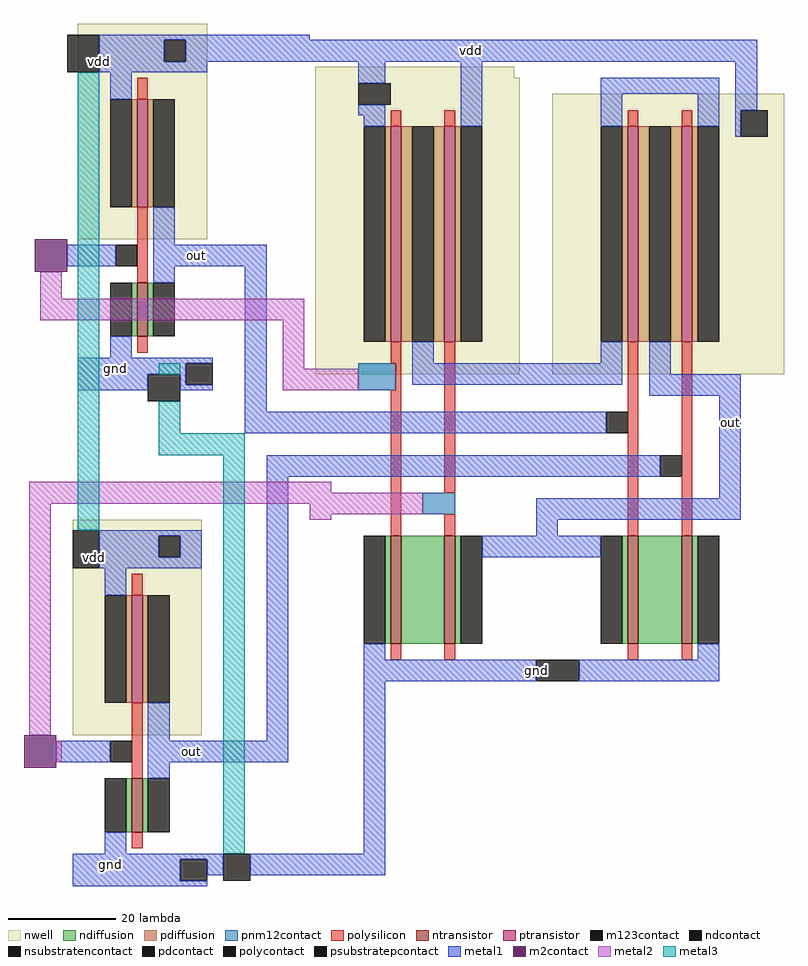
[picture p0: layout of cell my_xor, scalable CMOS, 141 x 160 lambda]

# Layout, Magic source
magic
tech scmos
<< nwell >>
rect 485 140 509 180
rect 529 170 566 172
rect 529 115 567 170
rect 573 115 616 167
rect 484 48 508 88
<< ntransistor >>
rect 496 122 498 132
rect 543 65 545 85
rect 553 65 555 85
rect 587 65 589 85
rect 597 65 599 85
rect 495 30 497 40
<< ptransistor >>
rect 496 146 498 166
rect 543 121 545 161
rect 553 121 555 161
rect 587 121 589 161
rect 597 121 599 161
rect 495 54 497 74
<< ndiffusion >>
rect 495 122 496 132
rect 498 122 499 132
rect 542 65 543 85
rect 545 65 553 85
rect 555 65 556 85
rect 586 65 587 85
rect 589 65 597 85
rect 599 65 600 85
rect 494 30 495 40
rect 497 30 498 40
<< pdiffusion >>
rect 495 146 496 166
rect 498 146 499 166
rect 542 121 543 161
rect 545 121 547 161
rect 551 121 553 161
rect 555 121 556 161
rect 586 121 587 161
rect 589 121 591 161
rect 595 121 597 161
rect 599 121 600 161
rect 494 54 495 74
rect 497 54 498 74
<< ndcontact >>
rect 491 122 495 132
rect 499 122 503 132
rect 538 65 542 85
rect 556 65 560 85
rect 582 65 586 85
rect 600 65 604 85
rect 490 30 494 40
rect 498 30 502 40
<< pdcontact >>
rect 491 146 495 166
rect 499 146 503 166
rect 538 121 542 161
rect 547 121 551 161
rect 556 121 560 161
rect 582 121 586 161
rect 591 121 595 161
rect 600 121 604 161
rect 490 54 494 74
rect 498 54 502 74
<< psubstratepcontact >>
rect 505 113 510 117
rect 570 58 578 62
rect 504 21 509 25
<< nsubstratencontact >>
rect 501 173 505 177
rect 537 165 543 169
rect 608 159 613 164
rect 500 81 504 85
<< polysilicon >>
rect 496 166 498 170
rect 543 161 545 164
rect 553 161 555 164
rect 587 161 589 164
rect 597 161 599 164
rect 496 132 498 146
rect 496 119 498 122
rect 543 117 545 121
rect 544 112 545 117
rect 543 85 545 112
rect 553 93 555 121
rect 553 85 555 89
rect 587 85 589 121
rect 597 85 599 121
rect 495 74 497 78
rect 543 62 545 65
rect 553 62 555 65
rect 587 62 589 65
rect 597 62 599 65
rect 495 40 497 54
rect 495 27 497 30
<< polycontact >>
rect 492 135 496 139
rect 583 104 587 108
rect 593 96 597 100
rect 491 43 495 47
<< metal1 >>
rect 489 177 528 178
rect 489 173 501 177
rect 505 173 611 177
rect 489 171 509 173
rect 491 166 495 171
rect 537 169 542 173
rect 537 163 542 165
rect 499 139 503 146
rect 538 161 542 163
rect 556 161 560 173
rect 483 135 492 139
rect 499 135 520 139
rect 499 132 503 135
rect 491 118 495 122
rect 485 117 510 118
rect 485 115 505 117
rect 485 112 498 115
rect 504 113 505 115
rect 504 112 510 113
rect 516 108 520 135
rect 582 167 604 170
rect 582 161 586 167
rect 600 161 604 167
rect 547 117 551 121
rect 582 117 586 121
rect 547 113 586 117
rect 607 164 611 173
rect 607 159 608 164
rect 591 115 595 121
rect 591 111 608 115
rect 516 104 583 108
rect 520 96 593 100
rect 489 85 508 86
rect 489 81 500 85
rect 504 81 508 85
rect 489 79 508 81
rect 490 74 494 79
rect 498 47 502 54
rect 520 47 524 96
rect 604 92 608 111
rect 570 88 608 92
rect 570 85 574 88
rect 481 43 491 47
rect 498 43 524 47
rect 560 81 582 85
rect 538 62 542 65
rect 600 62 604 65
rect 538 58 570 62
rect 578 58 604 62
rect 498 40 502 43
rect 490 26 494 30
rect 538 26 542 58
rect 484 25 512 26
rect 484 21 504 25
rect 509 22 512 25
rect 517 22 542 26
rect 484 20 509 21
<< m2contact >>
rect 477 134 483 140
rect 475 42 481 48
<< pnm12contact >>
rect 537 112 544 117
rect 549 89 555 93
<< metal2 >>
rect 478 129 482 134
rect 478 125 527 129
rect 523 116 527 125
rect 523 112 537 116
rect 476 93 532 95
rect 476 91 549 93
rect 476 48 480 91
rect 528 89 549 91
rect 528 88 532 89
rect 481 43 482 47
<< m123contact >>
rect 483 171 489 178
rect 498 110 504 115
rect 484 79 489 86
rect 512 21 517 26
<< metal3 >>
rect 485 86 489 171
rect 500 115 504 117
rect 500 104 504 110
rect 500 100 516 104
rect 512 26 516 100
<< labels >>
rlabel metal1 558 175 558 175 5 vdd
rlabel metal1 606 106 606 106 7 out
rlabel metal1 570 60 570 60 1 gnd
rlabel m123contact 488 81 488 81 5 vdd
rlabel metal1 491 24 491 24 1 gnd
rlabel metal1 506 45 506 45 1 out
rlabel metal1 489 173 489 173 5 vdd
rlabel metal1 492 116 492 116 1 gnd
rlabel metal1 507 137 507 137 1 out
<< end >>
